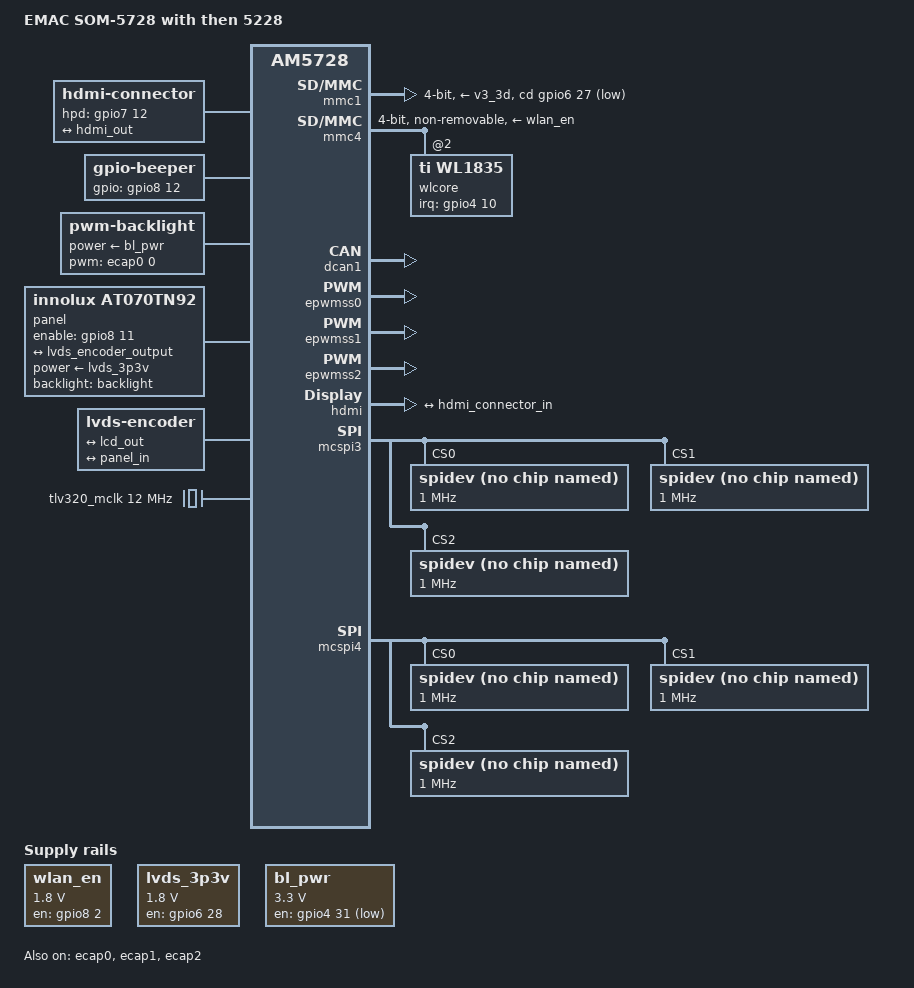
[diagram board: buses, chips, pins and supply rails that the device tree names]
/*
 * Copyright (C) 2014-2016 Texas Instruments Incorporated - http://www.ti.com/
 *
 * This program is free software; you can redistribute it and/or modify
 * it under the terms of the GNU General Public License version 2 as
 * published by the Free Software Foundation.
 */

 
#include "som-5728.dtsi"
// #include "som5728-5228-pinmux.dtsi"

/ {
	model = "EMAC SOM-5728 with then 5228";
    compatible = "emac,som5728", "ti,am5728", "ti,dra7";
	chosen {
		stdout-path = &uart3;
	};	
	aliases {
		display0 = &panel;
		display1 = &hdmi;
	};
	
	wlan_en: wlan_en_reg  {
		compatible = "regulator-fixed";
		regulator-name = "wlan-en-regulator";
		regulator-min-microvolt = <1800000>;
		regulator-max-microvolt = <1800000>;
		gpio = <&gpio8 2 GPIO_ACTIVE_HIGH>;

		startup-delay-us = <70000>;
		enable-active-high;
	};

	lvds_3p3v: lvds_3p3v_reg {
		compatible = "regulator-fixed";
		regulator-name = "LVDS 3P3V";
		regulator-min-microvolt = <1800000>;
		regulator-max-microvolt = <1800000>;
		regulator-boot-on;
		enable-active-high;
		gpio = <&gpio6 28 GPIO_ACTIVE_HIGH>;
		};

	bl_pwr: bl_pwr_reg {
		compatible = "regulator-fixed";
		regulator-name = "LVDS ABL";
		regulator-min-microvolt = <3300000>;
		regulator-max-microvolt = <3300000>;
		regulator-boot-on;
		gpio = <&gpio4 31 GPIO_ACTIVE_LOW>;
	};

	
	hdmi_conn: connector {
		compatible = "hdmi-connector";
		label = "hdmi";

		type = "a";
	};

	beeper: beeper {
		compatible = "gpio-beeper";
		gpios = <&gpio8 12 GPIO_ACTIVE_HIGH>;
	};

	backlight: backlight {
		compatible = "pwm-backlight";
		pwms = <&ecap0 0 50000 0>;
		//enable-gpios = <&gpio6 28 GPIO_ACTIVE_HIGH>;
		power-supply = <&bl_pwr>;
		brightness-levels = <0 10 20 30 40 50 60 70 80 90 100>;
		default-brightness-level = <9>;
	};
	
	panel: panel {
		compatible = "innolux,at070tn92", "simple-panel";
		backlight = <&backlight>;
		power-supply = <&lvds_3p3v>;

		enable-gpios = <&gpio8 11 GPIO_ACTIVE_HIGH>;
		
		port {
			panel_in: endpoint {
				remote-endpoint = <&lvds_encoder_output>;
			};
		};
	};
	
	lvds-encoder {
		compatible = "lvds-encoder";

		ports {
			#address-cells = <1>;
			#size-cells = <0>;

			port@0 {
				reg = <0>;

				lvds_encoder_input: endpoint {
					remote-endpoint = <&lcd_out>;
				};
			};

			port@1 {
				reg = <1>;

				lvds_encoder_output: endpoint {
					remote-endpoint = <&panel_in>;
				};
			};
		};
	};
	
	clocks {
		#address-cells = <1>;
		#size-cells = <0>;

		tlv320_mclk: tlv320_mclk {
			#clock-cells = <0>;
			compatible = "fixed-clock";
			clock-frequency = <12000000>;
			clock-output-names = "mclk";
		};
	};
	/*
	sound {
		compatible = "simple-audio-card";
		simple-audio-card,format = "i2s";
		simple-audio-card,name = "tlv320aic32x4";
		simple-audio-card,bitclock-master = <&codec_master>;
		simple-audio-card,frame-master = <&codec_master>;
		simple-audio-card,bitclock-inversion;
		simple-audio-card,widgets =
			"Microphone", "Microphone Jack",
			"Headphone", "Headphone Jack";
		simple-audio-card,routing =
			"Headphone Jack", "HPL",
			"Headphone Jack", "HPR",
			"IN1_L", "Microphone Jack",
			"IN1_R", "Microphone Jack",
			"Microphone Jack", "Mic Bias";

		cpu_master: simple-audio-card,cpu {
			sound-dai = <&mcasp8>;
		};

		codec_master: simple-audio-card,codec {
			sound-dai = <&codec>;
			clocks = <&tlv320_mclk>;
		};
	};
	*/
};


&dra7_pmx_core {
    
	dcan1_pins_default: dcan1_pins_default {
		pinctrl-single,pins = <
			DRA7XX_CORE_IOPAD(0x37d0, PIN_OUTPUT_PULLUP | MUX_MODE0)	/* dcan1_tx */
			DRA7XX_CORE_IOPAD(0x37d4, PIN_INPUT_PULLUP | MUX_MODE0)		/* dcan1_rx */
		>;
	};

	dcan1_pins_sleep: dcan1_pins_sleep {
		pinctrl-single,pins = <
			DRA7XX_CORE_IOPAD(0x37d0, MUX_MODE15 | PULL_UP)	/* dcan1_tx.off */
			DRA7XX_CORE_IOPAD(0x37d4, MUX_MODE15 | PULL_UP)	/* dcan1_rx.off */
		>;
	};
	

	lcd_pins_default: lcd_pins_default {
		pinctrl-single,pins = <
			DRA7XX_CORE_IOPAD(0x3564, PIN_OUTPUT | MUX_MODE14)      /* vin2a_vsync0.gpio4_0 */
		>;
	};
	
	wlan_pins_default: wlan_pins_default {
		pinctrl-single,pins = <
			DRA7XX_CORE_IOPAD(0x358c, PIN_INPUT | MUX_MODE14)      /* vin2a_d9.gpio4_10 */
			DRA7XX_CORE_IOPAD(0x35e4, PIN_OUTPUT_PULLDOWN | MUX_MODE14)      /* vout1_d2.gpio8_2 */
		>;
	};

	
	
	mcspi3_pins_default: mcspi3_pins_default {
        pinctrl-single,pins = <
          DRA7XX_CORE_IOPAD(0x35d8, PIN_OUTPUT | MUX_MODE8) /*vout1_vsync	spi3_sclk*/
          DRA7XX_CORE_IOPAD(0x35cc, PIN_INPUT  | MUX_MODE8) /*vout1_de	spi3_d1*/
          
          DRA7XX_CORE_IOPAD(0x35d4, PIN_OUTPUT | MUX_MODE8) /*vout1_hsync	spi3_d0*/

          DRA7XX_CORE_IOPAD(0x35c8, PIN_OUTPUT_PULLUP | MUX_MODE8) /*vout1_clk	spi3_cs0*/
          DRA7XX_CORE_IOPAD(0x35d0, PIN_OUTPUT_PULLUP | MUX_MODE8) /*vout1_fld	spi3_cs1*/
          DRA7XX_CORE_IOPAD(0x35dc, PIN_OUTPUT_PULLUP | MUX_MODE8) /*vout1_d0	spi3_cs2*/
        >;
	};
	
	mcspi4_pins_default: mcspi4_pins_default {
        pinctrl-single,pins = <
          DRA7XX_CORE_IOPAD(0x3560, PIN_OUTPUT | MUX_MODE8) /*vin2a_hsync0.spi4_clk*/
          DRA7XX_CORE_IOPAD(0x3564, PIN_INPUT  | MUX_MODE8) /*vin2a_vsync0 MCSPI4_SIMO */
          
          DRA7XX_CORE_IOPAD(0x3568, PIN_OUTPUT | MUX_MODE8) /*vin2a_d0 MCSPI4_MOSI */

          DRA7XX_CORE_IOPAD(0x356c, PIN_OUTPUT_PULLUP | MUX_MODE8) /*vin2a_d1.spi4_cs0*/
          DRA7XX_CORE_IOPAD(0x3470, PIN_OUTPUT_PULLUP | MUX_MODE8) /*vin2a_d1.spi4_cs1*/
          DRA7XX_CORE_IOPAD(0x37e4, PIN_OUTPUT_PULLUP | MUX_MODE14) /*uart1_txd.spi4_cs2*/
        >;
	};
	
	
	// MMC 0 IE SDCard
	mmc0_pins_default: mmc0_pins_default {
        pinctrl-single,pins = <
            DRA7XX_CORE_IOPAD( 0x3754, PIN_INPUT_PULLUP | MUX_MODE0)	/* mmc1_clk	mmc1_clk      */
            DRA7XX_CORE_IOPAD( 0x3758, PIN_INPUT_PULLUP | MUX_MODE0)	/* mmc1_cmd	mmc1_cmd      */
            DRA7XX_CORE_IOPAD( 0x375C, PIN_INPUT_PULLUP | MUX_MODE0)	/* mmc1_dat0	mmc1_dat0 */
            DRA7XX_CORE_IOPAD( 0x3760, PIN_INPUT_PULLUP | MUX_MODE0)	/* mmc1_dat1	mmc1_dat1 */
            DRA7XX_CORE_IOPAD( 0x3764, PIN_INPUT_PULLUP | MUX_MODE0)	/* mmc1_dat2	mmc1_dat2 */
            DRA7XX_CORE_IOPAD( 0x3768, PIN_INPUT_PULLUP | MUX_MODE0)	/* mmc1_dat3	mmc1_dat3 */
            DRA7XX_CORE_IOPAD( 0x376C, PIN_INPUT_PULLUP | MUX_MODE0)	/* mmc1_sdcd	mmc1_sdcd */
        >;
	};
	
	
};


// carrier

// EMMAC
&mmc1 {
	status = "okay";
	bus-width = <4>;
	pinctrl-names = "default", "hs";
	pinctrl-0 = <&mmc1_pins_default>;
	pinctrl-1 = <&mmc1_pins_hs>;
	vmmc-supply = <&v3_3d>;
	vqmmc-supply = <&ldo1_reg>;
	cd-gpios = <&gpio6 27 GPIO_ACTIVE_LOW>;
	max-frequency = <48000000>;
};


// carrier
&mmc4 {
	status = "okay";
	
	pinctrl-names = "default";
	pinctrl-0 = <&mmc4_pins_sdr25 &wlan_pins_default>;
	//pinctrl-1 = <&mmc4_pins_default &mmc4_iodelay_ds_rev20_conf &wlan_pins_default>;
	//pinctrl-2 = <&mmc4_pins_hs &mmc4_iodelay_sdr12_hs_sdr25_rev11_conf>;
	//pinctrl-3 = <&mmc4_pins_hs &mmc4_iodelay_sdr12_hs_sdr25_rev20_conf>;
	//pinctrl-4 = <&mmc4_pins_sdr12 &mmc4_iodelay_sdr12_hs_sdr25_rev11_conf>;
	//pinctrl-5 = <&mmc4_pins_sdr12 &mmc4_iodelay_sdr12_hs_sdr25_rev20_conf>;
	//pinctrl-6 = <&mmc4_pins_sdr25 &mmc4_iodelay_sdr12_hs_sdr25_rev11_conf>;
	//pinctrl-7 = <&mmc4_pins_sdr25 &mmc4_iodelay_sdr12_hs_sdr25_rev20_conf>;

	vqmmc-supply = <&reg_1p8v>;
	vmmc-supply = <&wlan_en>;
	bus-width = <4>;
	cap-power-off-card;
	ti,needs-special-reset;
	non-removable;
	ti,non-removable;
	max-frequency = <1000000>;

	#address-cells = <1>;
	#size-cells = <0>;
	wlcore: wlcore@2 {
		compatible = "ti,wl1835";
		reg = <0x2>;
		interrupt-parent = <&gpio4>;
		interrupts = <10 IRQ_TYPE_LEVEL_HIGH>;
	};
};


// remove for the 5228  KEEP FOR 350
// fix FOR THE 5228 UCBC MUX 
// hd3SS3220 -> TI
&i2c3 {	
	// fixme 
	// add util header
	// sata socket
	// dsi connector

	
	/*
	hd3ss3220@47 {
        compatible = "ti,hd3ss3220";
        reg = <0x47>;
        interrupt-parent = <&gpio6>;
        interrupts = <3>;
        ports {
            #address-cells = <1>;
            #size-cells = <0>;    
            port@0 {
                reg = <0>;
                hd3ss3220_in_ep: endpoint {
                        remote-endpoint = <&ss_ep>;
                };
            };
                
            port@1 {
                reg = <1>;
                hd3ss3220_out_ep: endpoint {
                    remote-endpoint = <&usb3_role_switch>;
                };
            };
        };
    };
    */
};



&i2c4 {
    // audio 350 only
	// fixme 350 only
	// add util header
	// pcie socket
	// csi connector	
	
	
	// FIXME 5228  add for the 
	// add for the bus4 of the 5228  
	// temp sensor(si , si7055-a20)
	
};

// one two one on both the 350 and the
&dcan1 {
	status = "okay";
	pinctrl-names = "default", "sleep", "active";
	pinctrl-0 = <&dcan1_pins_sleep>;
	pinctrl-1 = <&dcan1_pins_sleep>;
	pinctrl-2 = <&dcan1_pins_default>;
};


// 5228 disabled ?  
&dcan2 {
	status = "disabled";
};

// MOVE TO THE SOM
&dss {
	ports {
		#address-cells = <1>;
		#size-cells = <0>;
		port@2 {
			reg = <2>;
			lcd_out: endpoint {
				remote-endpoint = <&lvds_encoder_input>;
				data-lines = <18>;
			};
		};
	};
};


&ecap0 {
	status = "okay";
};

&epwmss0 {
	status = "okay";
};

&ecap1 {
	status = "okay";
};

&epwmss1 {
	status = "okay";
};

&ecap2 {
	status = "okay";
};

&epwmss2 {
	status = "okay";
};


&hdmi {
	status = "ok";
	vdda-supply = <&ldo4_reg>;

	port {
        hdmi_out: endpoint {
            remote-endpoint = <&hdmi_connector_in>;
            //lanes = <1 0 3 2 5 4 7 6>;
        };
	};
};

&hdmi_conn {
	pinctrl-names = "default";
	pinctrl-0 = <&hdmi_conn_pins>;

	hpd-gpios = <&gpio7 12 GPIO_ACTIVE_HIGH>;
	
	port {
        hdmi_connector_in: endpoint {
            remote-endpoint = <&hdmi_out>;
        };
	};
};

/*
 * SPI interfaces
 */
&mcspi3{
    status = "okay";
    ti,spi-num-cs = <3>;
    pinctrl-names = "default";
    pinctrl-0 = <&mcspi3_pins_default>;
    ti,pindir-d0-out-d1-in;
    spidev@1 {
        compatible = "emac,spidev";
        spi-max-frequency = <1000000>;
        reg = <0>;
    };
    spidev@2 {
        compatible = "emac,spidev";
        spi-max-frequency = <1000000>;
        reg = <1>;
    };
    spidev@3 {
        compatible = "emac,spidev";
        spi-max-frequency = <1000000>;
        reg = <2>;
    };
};

&mcspi4{
    status = "okay";
    ti,spi-num-cs = <3>;
    pinctrl-names = "default";
    pinctrl-0 = <&mcspi4_pins_default>;
    ti,pindir-d0-out-d1-in;
    spidev@1 {
        compatible = "emac,spidev";
        spi-max-frequency = <1000000>;
        reg = <0>;
    };
    spidev@2 {
        compatible = "emac,spidev";
        spi-max-frequency = <1000000>;
        reg = <1>;
    };
    spidev@3 {
        compatible = "emac,spidev";
        spi-max-frequency = <1000000>;
        reg = <2>;
    };
};




